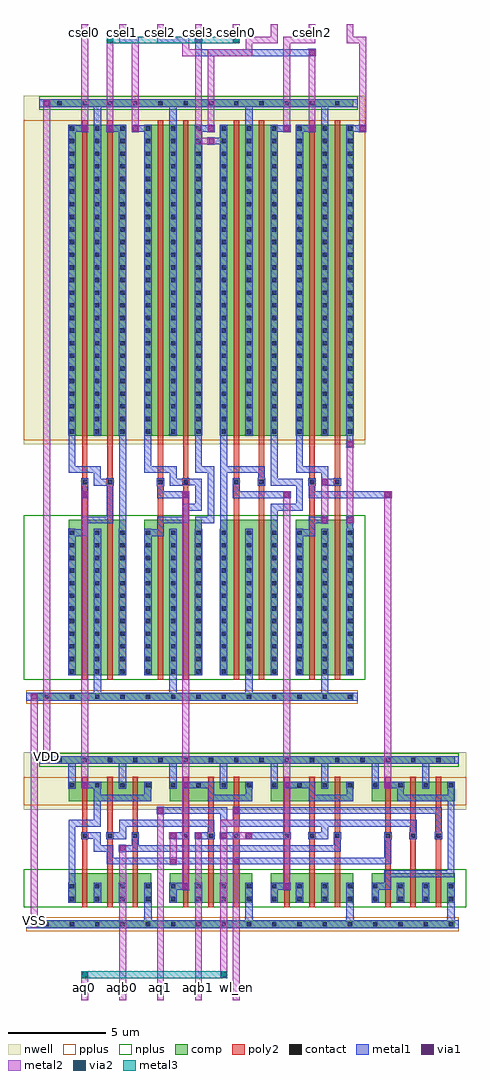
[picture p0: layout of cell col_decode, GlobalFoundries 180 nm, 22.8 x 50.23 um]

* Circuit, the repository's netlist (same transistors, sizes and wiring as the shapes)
** sch_path: /home/ubuntu/GitHub/gf180-sram/.loom/worktrees/issue-173/design/col_decode.sch
.subckt col_decode aq0 aqb0 aq1 aqb1 wl_en csel0 csel1 csel2 csel3 cseln0 cseln1 cseln2 cseln3 VDD
+ VSS
*.PININFO aq0:I aqb0:I aq1:I aqb1:I wl_en:I csel0:O csel1:O csel2:O csel3:O cseln0:O cseln1:O
*+ cseln2:O cseln3:O VDD:B VSS:B
XXn0 wl_en aqb1 aqb0 sn0 VDD VSS nand3
XXc0 sn0 csel0 VDD VSS inv_x16
XXcn0 csel0 cseln0 VDD VSS inv_x16
XXn1 wl_en aqb1 aq0 sn1 VDD VSS nand3
XXc1 sn1 csel1 VDD VSS inv_x16
XXcn1 csel1 cseln1 VDD VSS inv_x16
XXn2 wl_en aq1 aqb0 sn2 VDD VSS nand3
XXc2 sn2 csel2 VDD VSS inv_x16
XXcn2 csel2 cseln2 VDD VSS inv_x16
XXn3 wl_en aq1 aq0 sn3 VDD VSS nand3
XXc3 sn3 csel3 VDD VSS inv_x16
XXcn3 csel3 cseln3 VDD VSS inv_x16
.ends

* expanding   symbol:  nand3.sym # of pins=6
** sym_path: /home/ubuntu/GitHub/gf180-sram/.loom/worktrees/issue-173/design/nand3.sym
** sch_path: /home/ubuntu/GitHub/gf180-sram/.loom/worktrees/issue-173/design/nand3.sch
.subckt nand3 a0 a1 a2 y VDD VSS

*.PININFO a0:I a1:I a2:I y:O VDD:B VSS:B
XMP0 y a0 VDD VDD pfet_03v3 L=0.28u W=1u nf=1 ad='int((nf+1)/2) * W/nf * 0.18u' as='int((nf+2)/2) * W/nf * 0.18u'
+ pd='2*int((nf+1)/2) * (W/nf + 0.18u)' ps='2*int((nf+2)/2) * (W/nf + 0.18u)' nrd='0.18u / W' nrs='0.18u / W'
+ sa=0 sb=0 sd=0 m=1
XMP1 y a1 VDD VDD pfet_03v3 L=0.28u W=1u nf=1 ad='int((nf+1)/2) * W/nf * 0.18u' as='int((nf+2)/2) * W/nf * 0.18u'
+ pd='2*int((nf+1)/2) * (W/nf + 0.18u)' ps='2*int((nf+2)/2) * (W/nf + 0.18u)' nrd='0.18u / W' nrs='0.18u / W'
+ sa=0 sb=0 sd=0 m=1
XMP2 y a2 VDD VDD pfet_03v3 L=0.28u W=1u nf=1 ad='int((nf+1)/2) * W/nf * 0.18u' as='int((nf+2)/2) * W/nf * 0.18u'
+ pd='2*int((nf+1)/2) * (W/nf + 0.18u)' ps='2*int((nf+2)/2) * (W/nf + 0.18u)' nrd='0.18u / W' nrs='0.18u / W'
+ sa=0 sb=0 sd=0 m=1
XMN0 y a0 s1 VSS nfet_03v3 L=0.28u W=1.5u nf=1 ad='int((nf+1)/2) * W/nf * 0.18u' as='int((nf+2)/2) * W/nf * 0.18u'
+ pd='2*int((nf+1)/2) * (W/nf + 0.18u)' ps='2*int((nf+2)/2) * (W/nf + 0.18u)' nrd='0.18u / W' nrs='0.18u / W'
+ sa=0 sb=0 sd=0 m=1
XMN1 s1 a1 s2 VSS nfet_03v3 L=0.28u W=1.5u nf=1 ad='int((nf+1)/2) * W/nf * 0.18u' as='int((nf+2)/2) * W/nf * 0.18u'
+ pd='2*int((nf+1)/2) * (W/nf + 0.18u)' ps='2*int((nf+2)/2) * (W/nf + 0.18u)' nrd='0.18u / W' nrs='0.18u / W'
+ sa=0 sb=0 sd=0 m=1
XMN2 s2 a2 VSS VSS nfet_03v3 L=0.28u W=1.5u nf=1 ad='int((nf+1)/2) * W/nf * 0.18u' as='int((nf+2)/2) * W/nf * 0.18u'
+ pd='2*int((nf+1)/2) * (W/nf + 0.18u)' ps='2*int((nf+2)/2) * (W/nf + 0.18u)' nrd='0.18u / W' nrs='0.18u / W'
+ sa=0 sb=0 sd=0 m=1
.ends


* expanding   symbol:  inv_x16.sym # of pins=4
** sym_path: /home/ubuntu/GitHub/gf180-sram/.loom/worktrees/issue-173/design/inv_x16.sym
** sch_path: /home/ubuntu/GitHub/gf180-sram/.loom/worktrees/issue-173/design/inv_x16.sch
.subckt inv_x16 a y VDD VSS

*.PININFO a:I y:O VDD:B VSS:B
XMP y a VDD VDD pfet_03v3 L=0.28u W=16u nf=1 ad='int((nf+1)/2) * W/nf * 0.18u' as='int((nf+2)/2) * W/nf * 0.18u'
+ pd='2*int((nf+1)/2) * (W/nf + 0.18u)' ps='2*int((nf+2)/2) * (W/nf + 0.18u)' nrd='0.18u / W' nrs='0.18u / W'
+ sa=0 sb=0 sd=0 m=1
XMN y a VSS VSS nfet_03v3 L=0.28u W=8u nf=1 ad='int((nf+1)/2) * W/nf * 0.18u' as='int((nf+2)/2) * W/nf * 0.18u'
+ pd='2*int((nf+1)/2) * (W/nf + 0.18u)' ps='2*int((nf+2)/2) * (W/nf + 0.18u)' nrd='0.18u / W' nrs='0.18u / W'
+ sa=0 sb=0 sd=0 m=1
.ends

.end

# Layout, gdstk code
import gdstk
lib = gdstk.Library(unit=1e-6, precision=1e-09)
def R(c, l, rs):  # rectangles x0, y0, x1, y1
    for r in rs: c.add(gdstk.rectangle(r[:2], r[2:], *l))
def A(c, l, x, y, w, h, nx, ny, dx, dy):  # array of equal rectangles
    R(c, l, [(x+i*dx, y+j*dy, x+i*dx+w, y+j*dy+h) for i in range(nx) for j in range(ny)])
def P(c, l, *ps):  # polygons
    for p in ps: c.add(gdstk.Polygon(p, *l))
nwell = (21, 0)
comp = (22, 0)
poly2 = (30, 0)
pplus = (31, 0)
nplus = (32, 0)
contact = (33, 0)
metal1 = (34, 0)
via1 = (35, 0)
metal2 = (36, 0)
via2 = (38, 0)
metal3 = (42, 0)

col_decode = lib.new_cell('col_decode')
R(col_decode, nwell, [(0.245,9.79,23.04,12.74), (0.245,28.59,17.84,46.54)])
A(col_decode, comp, 2.565, 5.01, 4.26, 1.5, 4, 1, 5.2, 0)
A(col_decode, comp, 2.565, 10.24, 4.26, 1, 4, 1, 5.2, 0)
A(col_decode, comp, 2.565, 16.71, 2.96, 8, 4, 1, 3.9, 0)
A(col_decode, comp, 2.565, 29.04, 2.96, 16, 4, 1, 3.9, 0)
R(col_decode, comp, [(0.615,3.71,22.425,4.09), (1.265,12.16,22.425,12.54), (0.615,15.41,17.225,15.79), (1.265,45.96,17.225,46.34)])
P(col_decode, poly2, [(3.255,4.77),(3.255,8.26),(3.205,8.26),(3.205,8.64),(3.255,8.64),(3.255,11.48),(3.535,11.48),(3.535,8.64),(3.585,8.64),(3.585,8.26),(3.535,8.26),(3.535,4.77)],
  [(4.555,4.77),(4.555,8.26),(4.505,8.26),(4.505,8.64),(4.555,8.64),(4.555,11.48),(4.835,11.48),(4.835,8.64),(4.885,8.64),(4.885,8.26),(4.835,8.26),(4.835,4.77)],
  [(5.855,4.77),(5.855,8.26),(5.805,8.26),(5.805,8.64),(5.855,8.64),(5.855,11.48),(6.135,11.48),(6.135,8.64),(6.185,8.64),(6.185,8.26),(6.135,8.26),(6.135,4.77)],
  [(8.455,4.77),(8.455,8.26),(8.405,8.26),(8.405,8.64),(8.455,8.64),(8.455,11.48),(8.735,11.48),(8.735,8.64),(8.785,8.64),(8.785,8.26),(8.735,8.26),(8.735,4.77)],
  [(9.755,4.77),(9.755,8.26),(9.705,8.26),(9.705,8.64),(9.755,8.64),(9.755,11.48),(10.035,11.48),(10.035,8.64),(10.085,8.64),(10.085,8.26),(10.035,8.26),(10.035,4.77)],
  [(11.055,4.77),(11.055,8.26),(11.005,8.26),(11.005,8.64),(11.055,8.64),(11.055,11.48),(11.335,11.48),(11.335,8.64),(11.385,8.64),(11.385,8.26),(11.335,8.26),(11.335,4.77)],
  [(13.655,4.77),(13.655,8.26),(13.605,8.26),(13.605,8.64),(13.655,8.64),(13.655,11.48),(13.935,11.48),(13.935,8.64),(13.985,8.64),(13.985,8.26),(13.935,8.26),(13.935,4.77)],
  [(14.955,4.77),(14.955,8.26),(14.905,8.26),(14.905,8.64),(14.955,8.64),(14.955,11.48),(15.235,11.48),(15.235,8.64),(15.285,8.64),(15.285,8.26),(15.235,8.26),(15.235,4.77)],
  [(16.255,4.77),(16.255,8.26),(16.205,8.26),(16.205,8.64),(16.255,8.64),(16.255,11.48),(16.535,11.48),(16.535,8.64),(16.585,8.64),(16.585,8.26),(16.535,8.26),(16.535,4.77)],
  [(18.855,4.77),(18.855,8.26),(18.805,8.26),(18.805,8.64),(18.855,8.64),(18.855,11.48),(19.135,11.48),(19.135,8.64),(19.185,8.64),(19.185,8.26),(19.135,8.26),(19.135,4.77)],
  [(20.155,4.77),(20.155,8.26),(20.105,8.26),(20.105,8.64),(20.155,8.64),(20.155,11.48),(20.435,11.48),(20.435,8.64),(20.485,8.64),(20.485,8.26),(20.435,8.26),(20.435,4.77)],
  [(21.455,4.77),(21.455,8.26),(21.405,8.26),(21.405,8.64),(21.455,8.64),(21.455,11.48),(21.735,11.48),(21.735,8.64),(21.785,8.64),(21.785,8.26),(21.735,8.26),(21.735,4.77)],
  [(3.255,16.47),(3.255,26.46),(3.205,26.46),(3.205,26.84),(3.255,26.84),(3.255,45.28),(3.535,45.28),(3.535,26.84),(3.585,26.84),(3.585,26.46),(3.535,26.46),(3.535,16.47)],
  [(4.555,16.47),(4.555,26.46),(4.505,26.46),(4.505,26.84),(4.555,26.84),(4.555,45.28),(4.835,45.28),(4.835,26.84),(4.885,26.84),(4.885,26.46),(4.835,26.46),(4.835,16.47)],
  [(7.155,16.47),(7.155,26.46),(7.105,26.46),(7.105,26.84),(7.155,26.84),(7.155,45.28),(7.435,45.28),(7.435,26.84),(7.485,26.84),(7.485,26.46),(7.435,26.46),(7.435,16.47)],
  [(8.455,16.47),(8.455,26.46),(8.405,26.46),(8.405,26.84),(8.455,26.84),(8.455,45.28),(8.735,45.28),(8.735,26.84),(8.785,26.84),(8.785,26.46),(8.735,26.46),(8.735,16.47)],
  [(11.055,16.47),(11.055,26.46),(11.005,26.46),(11.005,26.84),(11.055,26.84),(11.055,45.28),(11.335,45.28),(11.335,26.84),(11.385,26.84),(11.385,26.46),(11.335,26.46),(11.335,16.47)],
  [(12.355,16.47),(12.355,26.46),(12.305,26.46),(12.305,26.84),(12.355,26.84),(12.355,45.28),(12.635,45.28),(12.635,26.84),(12.685,26.84),(12.685,26.46),(12.635,26.46),(12.635,16.47)],
  [(14.955,16.47),(14.955,26.46),(14.905,26.46),(14.905,26.84),(14.955,26.84),(14.955,45.28),(15.235,45.28),(15.235,26.84),(15.285,26.84),(15.285,26.46),(15.235,26.46),(15.235,16.47)],
  [(16.255,16.47),(16.255,26.46),(16.205,26.46),(16.205,26.84),(16.255,26.84),(16.255,45.28),(16.535,45.28),(16.535,26.84),(16.585,26.84),(16.585,26.46),(16.535,26.46),(16.535,16.47)])
R(col_decode, pplus, [(0.395,3.55,22.645,4.25), (0.245,10.01,23.04,11.47), (0.395,15.25,17.445,15.95), (0.245,28.81,17.84,45.27)])
R(col_decode, nplus, [(0.245,4.78,23.04,6.74), (1.045,12,22.645,12.7), (0.245,16.48,17.84,24.94), (1.045,45.8,17.445,46.5)])
A(col_decode, contact, 1.335, 3.79, 0.22, 0.22, 17, 1, 1.3, 0)
A(col_decode, contact, 2.635, 5.09, 0.22, 0.22, 16, 2, 1.3, 0.65)
A(col_decode, contact, 3.285, 8.34, 0.22, 0.22, 3, 1, 1.3, 0)
A(col_decode, contact, 8.485, 8.34, 0.22, 0.22, 3, 1, 1.3, 0)
A(col_decode, contact, 13.685, 8.34, 0.22, 0.22, 3, 1, 1.3, 0)
A(col_decode, contact, 18.885, 8.34, 0.22, 0.22, 3, 1, 1.3, 0)
A(col_decode, contact, 2.635, 10.94, 0.22, 0.22, 16, 1, 1.3, 0)
A(col_decode, contact, 1.985, 12.24, 0.22, 0.22, 16, 1, 1.3, 0)
A(col_decode, contact, 1.335, 15.49, 0.22, 0.22, 13, 1, 1.3, 0)
A(col_decode, contact, 2.635, 16.79, 0.22, 0.22, 12, 12, 1.3, 0.65)
A(col_decode, contact, 2.635, 29.14, 0.22, 0.22, 12, 25, 1.3, 0.65)
A(col_decode, contact, 1.985, 46.04, 0.22, 0.22, 12, 1, 1.3, 0)
R(col_decode, contact, [(3.285,26.54,3.505,26.76), (4.585,26.54,4.805,26.76), (7.185,26.54,7.405,26.76), (8.485,26.54,8.705,26.76), (11.085,26.54,11.305,26.76), (12.385,26.54,12.605,26.76), (14.985,26.54,15.205,26.76), (16.285,26.54,16.505,26.76)])
R(col_decode, metal1, [(3.855,5.01,4.235,6.04), (5.155,5.01,5.535,6.04), (9.055,5.01,9.435,6.04), (10.355,5.01,10.735,6.04), (14.255,5.01,14.635,6.04), (15.555,5.01,15.935,6.04), (19.455,5.01,19.835,6.04), (20.755,5.01,21.135,6.04)])
P(col_decode, metal1, [(7.755,5.01),(7.755,6.04),(8.135,6.04),(8.135,6.025),(8.405,6.025),(8.405,6.04),(8.785,6.04),(8.785,5.66),(8.405,5.66),(8.405,5.675),(8.135,5.675),(8.135,5.01)],
  [(12.955,5.01),(12.955,6.04),(13.335,6.04),(13.335,6.025),(13.605,6.025),(13.605,6.04),(13.985,6.04),(13.985,5.66),(13.605,5.66),(13.605,5.675),(13.335,5.675),(13.335,5.01)],
  [(0.395,3.7),(0.395,4.1),(6.455,4.1),(6.455,6.04),(6.835,6.04),(6.835,4.1),(11.655,4.1),(11.655,6.04),(12.035,6.04),(12.035,4.1),(16.855,4.1),(16.855,6.04),(17.235,6.04),(17.235,4.1),(22.055,4.1),(22.055,6.04),(22.435,6.04),(22.435,4.1),(22.645,4.1),(22.645,3.7)],
  [(7.755,8.26),(7.755,8.64),(8.135,8.64),(8.135,8.625),(8.405,8.625),(8.405,8.64),(8.785,8.64),(8.785,8.26),(8.405,8.26),(8.405,8.275),(8.135,8.275),(8.135,8.26)],
  [(10.355,8.26),(10.355,8.64),(10.735,8.64),(10.735,8.625),(11.005,8.625),(11.005,8.64),(11.385,8.64),(11.385,8.26),(11.005,8.26),(11.005,8.275),(10.735,8.275),(10.735,8.26)],
  [(11.655,8.26),(11.655,8.64),(12.035,8.64),(12.035,8.625),(13.605,8.625),(13.605,8.64),(13.985,8.64),(13.985,8.26),(13.605,8.26),(13.605,8.275),(12.035,8.275),(12.035,8.26)],
  [(5.155,7.61),(5.155,7.99),(5.535,7.99),(5.535,7.975),(5.82,7.975),(5.82,8.26),(5.805,8.26),(5.805,8.64),(6.185,8.64),(6.185,8.26),(6.17,8.26),(6.17,7.975),(16.22,7.975),(16.22,8.26),(16.205,8.26),(16.205,8.64),(16.585,8.64),(16.585,8.26),(16.57,8.26),(16.57,7.625),(5.535,7.625),(5.535,7.61)],
  [(7.755,6.96),(7.755,6.975),(4.52,6.975),(4.52,7.625),(3.87,7.625),(3.87,8.275),(3.585,8.275),(3.585,8.26),(3.205,8.26),(3.205,8.64),(3.585,8.64),(3.585,8.625),(4.22,8.625),(4.22,7.975),(4.87,7.975),(4.87,7.325),(7.755,7.325),(7.755,7.34),(8.135,7.34),(8.135,7.325),(11.005,7.325),(11.005,7.34),(11.385,7.34),(11.385,7.325),(18.82,7.325),(18.82,8.26),(18.805,8.26),(18.805,8.64),(19.185,8.64),(19.185,8.26),(19.17,8.26),(19.17,6.975),(11.385,6.975),(11.385,6.96),(11.005,6.96),(11.005,6.975),(8.135,6.975),(8.135,6.96)],
  [(4.505,8.26),(4.505,8.64),(4.885,8.64),(4.885,8.625),(5.17,8.625),(5.17,9.275),(10.07,9.275),(10.07,8.64),(10.085,8.64),(10.085,8.26),(9.705,8.26),(9.705,8.275),(9.435,8.275),(9.435,8.26),(9.055,8.26),(9.055,8.64),(9.435,8.64),(9.435,8.625),(9.705,8.625),(9.705,8.64),(9.72,8.64),(9.72,8.925),(5.52,8.925),(5.52,8.275),(4.885,8.275),(4.885,8.26)],
  [(14.905,8.26),(14.905,8.64),(15.285,8.64),(15.285,8.625),(15.57,8.625),(15.57,8.925),(10.37,8.925),(10.37,9.575),(7.485,9.575),(7.485,9.56),(7.105,9.56),(7.105,9.94),(7.485,9.94),(7.485,9.925),(10.72,9.925),(10.72,9.275),(20.47,9.275),(20.47,8.64),(20.485,8.64),(20.485,8.26),(20.105,8.26),(20.105,8.64),(20.12,8.64),(20.12,8.925),(15.92,8.925),(15.92,8.275),(15.285,8.275),(15.285,8.26)],
  [(21.405,8.26),(21.405,8.64),(21.42,8.64),(21.42,9.575),(11.385,9.575),(11.385,9.56),(11.005,9.56),(11.005,9.94),(11.385,9.94),(11.385,9.925),(21.77,9.925),(21.77,8.64),(21.785,8.64),(21.785,8.26)],
  [(2.555,5.01),(2.555,6.04),(2.57,6.04),(2.57,9.275),(3.87,9.275),(3.87,10.86),(3.855,10.86),(3.855,10.875),(3.585,10.875),(3.585,10.86),(3.205,10.86),(3.205,11.24),(3.585,11.24),(3.585,11.225),(3.855,11.225),(3.855,11.24),(4.235,11.24),(4.235,10.86),(4.22,10.86),(4.22,10.575),(6.47,10.575),(6.47,10.86),(6.455,10.86),(6.455,11.24),(6.835,11.24),(6.835,10.86),(6.82,10.86),(6.82,10.225),(4.22,10.225),(4.22,8.925),(2.92,8.925),(2.92,6.04),(2.935,6.04),(2.935,5.01)],
  [(9.72,10.225),(9.72,10.875),(9.435,10.875),(9.435,10.86),(9.055,10.86),(9.055,10.875),(8.785,10.875),(8.785,10.86),(8.405,10.86),(8.405,11.24),(8.785,11.24),(8.785,11.225),(9.055,11.225),(9.055,11.24),(9.435,11.24),(9.435,11.225),(10.07,11.225),(10.07,10.575),(11.67,10.575),(11.67,10.86),(11.655,10.86),(11.655,11.24),(12.035,11.24),(12.035,10.86),(12.02,10.86),(12.02,10.225)],
  [(14.92,10.225),(14.92,10.875),(14.635,10.875),(14.635,10.86),(14.255,10.86),(14.255,10.875),(13.985,10.875),(13.985,10.86),(13.605,10.86),(13.605,11.24),(13.985,11.24),(13.985,11.225),(14.255,11.225),(14.255,11.24),(14.635,11.24),(14.635,11.225),(15.27,11.225),(15.27,10.575),(16.87,10.575),(16.87,10.86),(16.855,10.86),(16.855,11.24),(17.235,11.24),(17.235,10.86),(17.22,10.86),(17.22,10.225)],
  [(18.155,5.01),(18.155,6.04),(18.535,6.04),(18.535,6.025),(18.82,6.025),(18.82,6.675),(22.07,6.675),(22.07,10.225),(19.47,10.225),(19.47,10.86),(19.455,10.86),(19.455,10.875),(19.185,10.875),(19.185,10.86),(18.805,10.86),(18.805,11.24),(19.185,11.24),(19.185,11.225),(19.455,11.225),(19.455,11.24),(19.835,11.24),(19.835,10.86),(19.82,10.86),(19.82,10.575),(22.07,10.575),(22.07,10.86),(22.055,10.86),(22.055,11.24),(22.435,11.24),(22.435,10.86),(22.42,10.86),(22.42,6.325),(19.17,6.325),(19.17,5.675),(18.535,5.675),(18.535,5.01)],
  [(2.555,10.86),(2.555,12.15),(1.045,12.15),(1.045,12.55),(22.645,12.55),(22.645,12.15),(21.135,12.15),(21.135,10.86),(20.755,10.86),(20.755,12.15),(18.535,12.15),(18.535,10.86),(18.155,10.86),(18.155,12.15),(15.935,12.15),(15.935,10.86),(15.555,10.86),(15.555,12.15),(13.335,12.15),(13.335,10.86),(12.955,10.86),(12.955,12.15),(10.735,12.15),(10.735,10.86),(10.355,10.86),(10.355,12.15),(8.135,12.15),(8.135,10.86),(7.755,10.86),(7.755,12.15),(5.535,12.15),(5.535,10.86),(5.155,10.86),(5.155,12.15),(2.935,12.15),(2.935,10.86)],
  [(0.395,15.4),(0.395,15.8),(3.855,15.8),(3.855,24.24),(4.235,24.24),(4.235,15.8),(7.755,15.8),(7.755,24.24),(8.135,24.24),(8.135,15.8),(11.655,15.8),(11.655,24.24),(12.035,24.24),(12.035,15.8),(15.555,15.8),(15.555,24.24),(15.935,24.24),(15.935,15.8),(17.445,15.8),(17.445,15.4)],
  [(14.255,16.71),(14.255,24.24),(14.635,24.24),(14.635,24.225),(14.92,24.225),(14.92,24.875),(15.555,24.875),(15.555,24.89),(15.935,24.89),(15.935,24.51),(15.555,24.51),(15.555,24.525),(15.27,24.525),(15.27,23.875),(14.635,23.875),(14.635,16.71)],
  [(16.855,16.71),(16.855,24.24),(16.87,24.24),(16.87,24.51),(16.855,24.51),(16.855,24.89),(17.235,24.89),(17.235,24.51),(17.22,24.51),(17.22,24.24),(17.235,24.24),(17.235,16.71)],
  [(3.205,25.81),(3.205,26.19),(3.22,26.19),(3.22,26.46),(3.205,26.46),(3.205,26.84),(3.585,26.84),(3.585,26.46),(3.57,26.46),(3.57,26.19),(3.585,26.19),(3.585,25.81)],
  [(8.405,25.81),(8.405,25.825),(7.12,25.825),(7.12,26.46),(7.105,26.46),(7.105,26.84),(7.485,26.84),(7.485,26.46),(7.47,26.46),(7.47,26.175),(8.405,26.175),(8.405,26.19),(8.785,26.19),(8.785,25.81)],
  [(13.605,25.81),(13.605,25.825),(11.02,25.825),(11.02,26.46),(11.005,26.46),(11.005,26.84),(11.385,26.84),(11.385,26.46),(11.37,26.46),(11.37,26.175),(13.605,26.175),(13.605,26.19),(13.985,26.19),(13.985,25.81)],
  [(18.805,25.81),(18.805,25.825),(14.92,25.825),(14.92,26.46),(14.905,26.46),(14.905,26.84),(15.285,26.84),(15.285,26.46),(15.27,26.46),(15.27,26.175),(18.805,26.175),(18.805,26.19),(19.185,26.19),(19.185,25.81)],
  [(2.555,16.71),(2.555,24.24),(2.935,24.24),(2.935,24.225),(3.22,24.225),(3.22,24.875),(4.52,24.875),(4.52,26.46),(4.505,26.46),(4.505,26.475),(3.87,26.475),(3.87,27.125),(2.57,27.125),(2.57,29.06),(2.555,29.06),(2.555,45.04),(2.935,45.04),(2.935,45.025),(3.205,45.025),(3.205,45.04),(3.585,45.04),(3.585,44.66),(3.205,44.66),(3.205,44.675),(2.935,44.675),(2.935,29.06),(2.92,29.06),(2.92,27.475),(4.22,27.475),(4.22,26.825),(4.505,26.825),(4.505,26.84),(4.885,26.84),(4.885,26.46),(4.87,26.46),(4.87,24.525),(3.57,24.525),(3.57,23.875),(2.935,23.875),(2.935,16.71)],
  [(5.155,16.71),(5.155,24.24),(5.17,24.24),(5.17,29.06),(5.155,29.06),(5.155,44.675),(4.885,44.675),(4.885,44.66),(4.505,44.66),(4.505,45.04),(4.885,45.04),(4.885,45.025),(5.155,45.025),(5.155,45.04),(5.535,45.04),(5.535,29.06),(5.52,29.06),(5.52,24.24),(5.535,24.24),(5.535,16.71)],
  [(6.455,16.71),(6.455,24.24),(6.835,24.24),(6.835,24.225),(7.12,24.225),(7.12,24.875),(8.42,24.875),(8.42,25.525),(9.07,25.525),(9.07,26.475),(8.785,26.475),(8.785,26.46),(8.405,26.46),(8.405,26.475),(7.77,26.475),(7.77,27.125),(6.47,27.125),(6.47,29.06),(6.455,29.06),(6.455,44.675),(6.185,44.675),(6.185,44.66),(5.805,44.66),(5.805,45.04),(6.185,45.04),(6.185,45.025),(6.455,45.025),(6.455,45.04),(6.835,45.04),(6.835,29.06),(6.82,29.06),(6.82,27.475),(8.12,27.475),(8.12,26.825),(8.405,26.825),(8.405,26.84),(8.785,26.84),(8.785,26.825),(9.42,26.825),(9.42,25.175),(8.77,25.175),(8.77,24.525),(7.47,24.525),(7.47,23.875),(6.835,23.875),(6.835,16.71)],
  [(9.055,16.71),(9.055,24.24),(9.07,24.24),(9.07,24.875),(9.72,24.875),(9.72,27.125),(9.07,27.125),(9.07,29.06),(9.055,29.06),(9.055,45.04),(9.435,45.04),(9.435,45.025),(9.705,45.025),(9.705,45.04),(10.085,45.04),(10.085,44.66),(9.705,44.66),(9.705,44.675),(9.435,44.675),(9.435,29.06),(9.42,29.06),(9.42,27.475),(10.07,27.475),(10.07,24.525),(9.42,24.525),(9.42,24.24),(9.435,24.24),(9.435,16.71)],
  [(10.355,16.71),(10.355,24.24),(10.37,24.24),(10.37,29.06),(10.355,29.06),(10.355,44.025),(10.085,44.025),(10.085,44.01),(9.705,44.01),(9.705,44.39),(10.085,44.39),(10.085,44.375),(10.355,44.375),(10.355,45.04),(10.735,45.04),(10.735,29.06),(10.72,29.06),(10.72,27.475),(12.67,27.475),(12.67,26.84),(12.685,26.84),(12.685,26.46),(12.305,26.46),(12.305,26.84),(12.32,26.84),(12.32,27.125),(10.72,27.125),(10.72,24.24),(10.735,24.24),(10.735,16.71)],
  [(12.955,16.71),(12.955,24.24),(12.97,24.24),(12.97,25.525),(14.27,25.525),(14.27,26.475),(12.97,26.475),(12.97,29.06),(12.955,29.06),(12.955,45.04),(13.335,45.04),(13.335,45.025),(13.605,45.025),(13.605,45.04),(13.985,45.04),(13.985,44.66),(13.605,44.66),(13.605,44.675),(13.335,44.675),(13.335,29.06),(13.32,29.06),(13.32,26.825),(14.62,26.825),(14.62,25.175),(13.32,25.175),(13.32,24.24),(13.335,24.24),(13.335,16.71)],
  [(15.555,26.46),(15.555,26.84),(15.57,26.84),(15.57,27.125),(14.27,27.125),(14.27,29.06),(14.255,29.06),(14.255,45.04),(14.635,45.04),(14.635,45.025),(14.905,45.025),(14.905,45.04),(15.285,45.04),(15.285,44.66),(14.905,44.66),(14.905,44.675),(14.635,44.675),(14.635,29.06),(14.62,29.06),(14.62,27.475),(15.92,27.475),(15.92,26.84),(15.935,26.84),(15.935,26.825),(16.205,26.825),(16.205,26.84),(16.585,26.84),(16.585,26.46),(16.205,26.46),(16.205,26.475),(15.935,26.475),(15.935,26.46)],
  [(16.855,28.41),(16.855,28.79),(16.87,28.79),(16.87,29.06),(16.855,29.06),(16.855,45.04),(17.235,45.04),(17.235,45.025),(17.505,45.025),(17.505,45.04),(17.885,45.04),(17.885,44.66),(17.505,44.66),(17.505,44.675),(17.235,44.675),(17.235,29.06),(17.22,29.06),(17.22,28.79),(17.235,28.79),(17.235,28.41)],
  [(3.855,29.06),(3.855,45.95),(1.045,45.95),(1.045,46.35),(17.445,46.35),(17.445,45.95),(15.935,45.95),(15.935,29.06),(15.555,29.06),(15.555,45.95),(12.035,45.95),(12.035,29.06),(11.655,29.06),(11.655,45.95),(8.135,45.95),(8.135,29.06),(7.755,29.06),(7.755,45.95),(4.235,45.95),(4.235,29.06)],
  [(14.905,48.56),(14.905,48.575),(9.07,48.575),(9.07,49.21),(9.055,49.21),(9.055,49.59),(9.435,49.59),(9.435,49.21),(9.42,49.21),(9.42,48.925),(14.905,48.925),(14.905,48.94),(15.285,48.94),(15.285,48.56)])
A(col_decode, via1, 7.815, 8.32, 0.26, 0.26, 4, 1, 1.3, 0)
A(col_decode, via1, 3.265, 10.92, 0.26, 0.26, 4, 2, 5.2, 14.95)
A(col_decode, via1, 3.265, 44.72, 0.26, 0.26, 3, 1, 1.3, 0)
R(col_decode, via1, [(0.665,3.77,0.925,4.03), (8.465,5.72,8.725,5.98), (13.665,5.72,13.925,5.98), (7.815,7.02,8.075,7.28), (11.065,7.02,11.325,7.28), (5.215,7.67,5.475,7.93), (7.165,9.62,7.425,9.88), (11.065,9.62,11.325,9.88), (1.315,12.22,1.575,12.48), (0.665,15.47,0.925,15.73), (15.615,24.57,15.875,24.83), (16.915,24.57,17.175,24.83), (15.615,26.52,15.875,26.78), (16.915,28.47,17.175,28.73), (9.765,44.07,10.025,44.33), (9.765,44.72,10.025,44.98), (13.665,44.72,13.925,44.98), (14.965,44.72,15.225,44.98), (17.565,44.72,17.825,44.98), (1.315,46.02,1.575,46.28), (14.965,48.62,15.225,48.88), (9.115,49.27,9.375,49.53)])
R(col_decode, metal2, [(3.22,0,3.57,1.475), (5.17,0,5.52,7.975), (7.12,0,7.47,9.925), (9.07,0,9.42,8.625), (0.62,3.725,0.97,15.775), (8.42,5.675,8.77,26.175), (13.62,5.675,13.97,26.175), (7.77,6.975,8.12,8.625), (3.22,10.875,3.57,26.175), (18.82,10.875,19.17,26.175), (1.27,12.175,1.62,46.325), (15.57,24.525,15.92,26.825), (16.87,24.525,17.22,28.775), (3.22,44.675,3.57,50.225), (4.52,44.675,4.87,49.575), (14.92,44.675,15.27,48.925), (9.07,49.225,9.42,50.225), (11.02,49.225,11.37,50.225)])
P(col_decode, metal2, [(11.02,0),(11.02,8.625),(12.02,8.625),(12.02,8.275),(11.37,8.275),(11.37,0)],
  [(10.37,1.125),(10.37,9.275),(11.02,9.275),(11.02,9.925),(11.37,9.925),(11.37,8.925),(10.72,8.925),(10.72,1.125)],
  [(5.82,44.675),(5.82,49.225),(5.17,49.225),(5.17,50.225),(5.52,50.225),(5.52,49.575),(6.17,49.575),(6.17,44.675)],
  [(9.07,44.025),(9.07,48.575),(8.42,48.575),(8.42,49.225),(7.12,49.225),(7.12,50.225),(7.47,50.225),(7.47,49.575),(8.77,49.575),(8.77,48.925),(9.42,48.925),(9.42,44.375),(10.07,44.375),(10.07,44.025)],
  [(9.72,44.675),(9.72,48.925),(11.67,48.925),(11.67,49.575),(12.97,49.575),(12.97,50.225),(13.32,50.225),(13.32,49.225),(12.02,49.225),(12.02,48.575),(10.07,48.575),(10.07,44.675)],
  [(13.62,44.675),(13.62,49.575),(14.92,49.575),(14.92,50.225),(15.27,50.225),(15.27,49.225),(13.97,49.225),(13.97,44.675)],
  [(17.52,44.675),(17.52,49.225),(16.87,49.225),(16.87,50.225),(17.22,50.225),(17.22,49.575),(17.87,49.575),(17.87,44.675)])
R(col_decode, via2, [(3.265,1.17,3.525,1.43), (10.415,1.17,10.675,1.43), (4.565,49.27,4.825,49.53), (11.065,49.27,11.325,49.53)])
R(col_decode, metal3, [(3.22,1.125,10.72,1.475), (4.52,49.225,11.37,49.575)])
col_decode.add(gdstk.Label('VSS', (0.795,4.1), layer=36, texttype=10))
col_decode.add(gdstk.Label('VDD', (1.445,12.55), layer=36, texttype=10))
col_decode.add(gdstk.Label('aq0', (3.395,0.65), layer=36, texttype=10))
col_decode.add(gdstk.Label('aqb0', (5.345,0.65), layer=36, texttype=10))
col_decode.add(gdstk.Label('aq1', (7.295,0.65), layer=36, texttype=10))
col_decode.add(gdstk.Label('aqb1', (9.245,0.65), layer=36, texttype=10))
col_decode.add(gdstk.Label('wl_en', (11.195,0.65), layer=36, texttype=10))
col_decode.add(gdstk.Label('csel0', (3.395,49.812), layer=36, texttype=10))
col_decode.add(gdstk.Label('csel1', (5.345,49.812), layer=36, texttype=10))
col_decode.add(gdstk.Label('csel2', (7.295,49.812), layer=36, texttype=10))
col_decode.add(gdstk.Label('csel3', (9.245,49.812), layer=36, texttype=10))
col_decode.add(gdstk.Label('cseln0', (11.195,49.812), layer=36, texttype=10))
col_decode.add(gdstk.Label('cseln1', (13.145,49.812), layer=36, texttype=10))
col_decode.add(gdstk.Label('cseln2', (15.095,49.812), layer=36, texttype=10))
col_decode.add(gdstk.Label('cseln3', (17.045,49.812), layer=36, texttype=10))

lib.write_gds('col_decode.gds')
